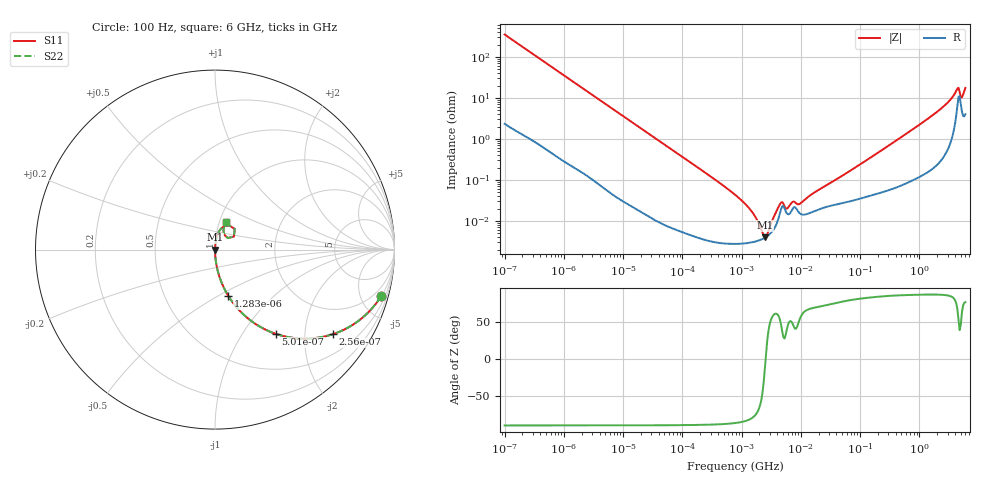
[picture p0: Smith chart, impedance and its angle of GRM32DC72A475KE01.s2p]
!Murata Part Number: GRM32DC72A475KE01
!These Parameters are Measured in Series Mode Connection
!Data Generated on Mar 30, 2021
!  o--ll--o
!Port1  Port2
!  o------o
!Operation Temp=25[degC], DC Bias Voltage=0[V]
!Freq. Start=100[Hz] Stop=6[GHz] 401[Steps]
# Hz S RI R 50
!Freq.(Hz) S11(Real) S11(Imag) S21(Real) S21(Imag) S12(Real) S12(Imag) S22(Real) S22(Imag)
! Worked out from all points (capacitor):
!   401 points, 100 Hz to 6 GHz, reference 50 ohm
!   read as one part in series: C = 4.48 uF near 109 Hz
!   lowest |Z| = 3.96 mohm at 2.481 MHz (marker M1)
!   series resonance near 2.544 MHz, so ESL is about 870 pH
!   S11 on the Smith chart (normalised r, x): 100 Hz: 1.05, -7.09; 256 Hz: 1.02, -2.78; 501 Hz: 1.01, -1.43; 1.283 kHz: 1.00, -0.56; 6 GHz: 1.08, +0.34
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100  0.9248 -0.2604  0.0752 0.2604  0.0752 0.2604  0.9248 -0.2604
256  0.6577 -0.4708  0.3423 0.4708  0.3423 0.4708  0.6577 -0.4708
501  0.3379 -0.4691  0.6621 0.4691  0.6621 0.4691  0.3379 -0.4691
1283  0.0743 -0.2582  0.9257 0.2582  0.9257 0.2582  0.0743 -0.2582
2008  0.0325 -0.173  0.9675 0.173  0.9675 0.173  0.0325 -0.173
6433  0.0036 -0.056  0.9964 0.056  0.9964 0.056  0.0036 -0.056
40335  0.000174 -0.00905  0.9998 0.00905  0.9998 0.00905  0.000174 -0.00905
774597  2.76e-05 -0.000435  1 0.000435  1 0.000435  2.76e-05 -0.000435
1267578  2.88e-05 -0.000222  1 0.000222  1 0.000222  2.88e-05 -0.000222
1896632  3.27e-05 -8.91e-05  1 8.91e-05  1 8.91e-05  3.27e-05 -8.91e-05
2481164  3.89e-05 -7.6e-06  1 7.6e-06  1 7.6e-06  3.89e-05 -7.6e-06
3245845  5.39e-05 8.01e-05  0.9999 -8.01e-05  0.9999 -8.01e-05  5.39e-05 8.01e-05
4643984  0.000193 0.000203  0.9998 -0.000203  0.9998 -0.000203  0.000193 0.000203
5809218  0.000152 0.000128  0.9998 -0.000128  0.9998 -0.000128  0.000152 0.000128
7266822  0.000195 0.000216  0.9998 -0.000216  0.9998 -0.000216  0.000195 0.000216
9506416  0.000155 0.000207  0.9998 -0.000207  0.9998 -0.000207  0.000155 0.000207
1.555665e7  0.000164 0.000423  0.9998 -0.000423  0.9998 -0.000423  0.000164 0.000423
3.124326e8  0.000615 0.00702  0.9994 -0.00702  0.9994 -0.00702  0.000615 0.00702
2.048624e9  0.00462 0.0469  0.9954 -0.0469  0.9954 -0.0469  0.00462 0.0469
4.193612e9  0.0533 0.1308  0.9467 -0.1308  0.9467 -0.1308  0.0533 0.1308
5.245841e9  0.0515 0.083  0.9485 -0.083  0.9485 -0.083  0.0515 0.083
6e9  0.0639 0.1543  0.9361 -0.1543  0.9361 -0.1543  0.0639 0.1543
